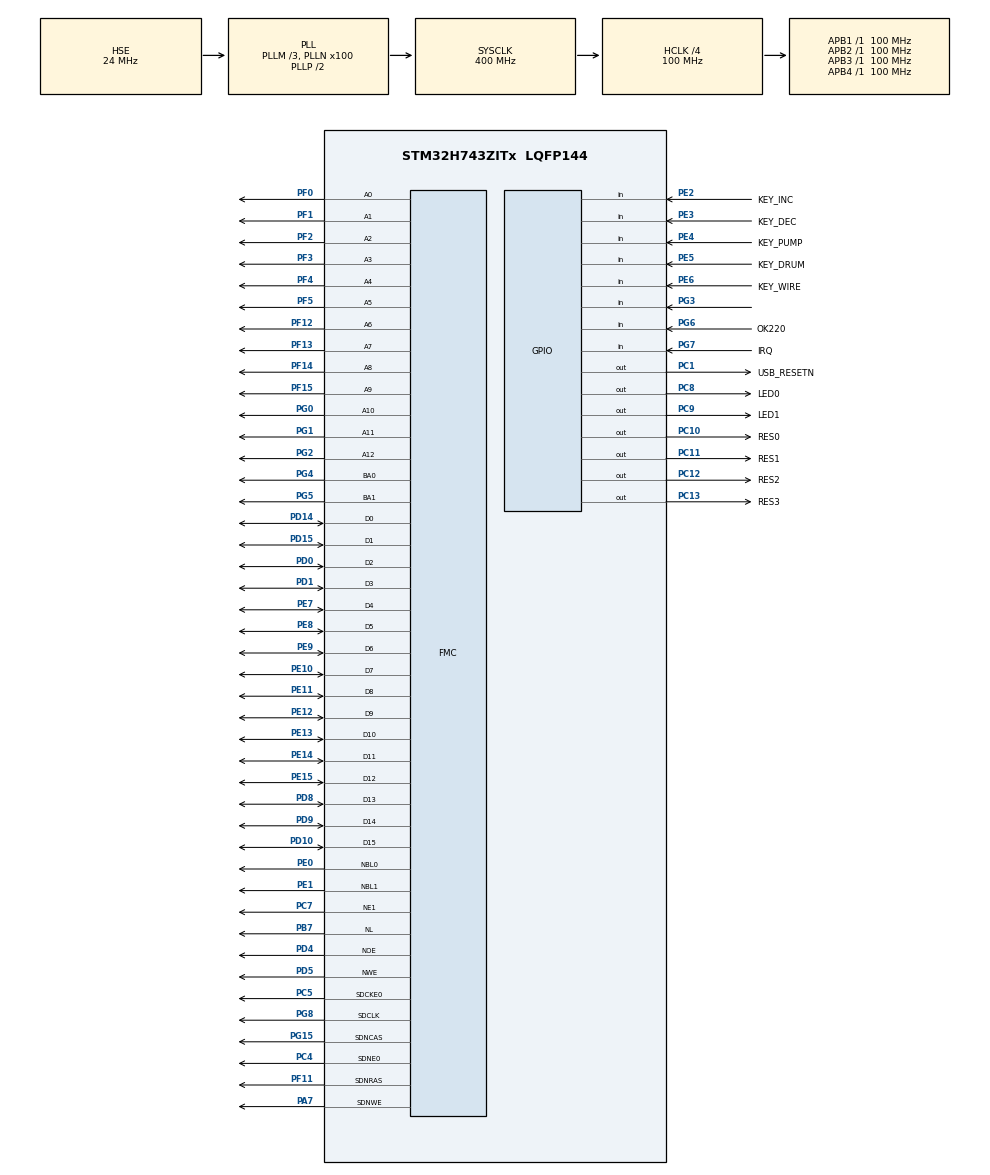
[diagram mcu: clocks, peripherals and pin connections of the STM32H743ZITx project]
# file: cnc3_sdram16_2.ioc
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CORTEX_M7.AccessPermission-Cortex_Memory_Protection_Unit_Region0_Settings=MPU_REGION_FULL_ACCESS
CORTEX_M7.BaseAddress-Cortex_Memory_Protection_Unit_Region0_Settings=0xC0000000
CORTEX_M7.CPU_ICache=Enabled
CORTEX_M7.DisableExec-Cortex_Memory_Protection_Unit_Region0_Settings=MPU_INSTRUCTION_ACCESS_DISABLE
CORTEX_M7.Enable-Cortex_Memory_Protection_Unit_Region0_Settings=MPU_REGION_ENABLE
CORTEX_M7.IsCacheable-Cortex_Memory_Protection_Unit_Region0_Settings=MPU_ACCESS_NOT_CACHEABLE
CORTEX_M7.MPU_Control=__NULL
CORTEX_M7.Size-Cortex_Memory_Protection_Unit_Region0_Settings=MPU_REGION_SIZE_64MB
FMC.AddressHoldTime1=6
FMC.BankMapConfig=FMC_SWAPBMAP_DISABLE
FMC.BusTurnAroundDuration1=6
FMC.CASLatency1=FMC_SDRAM_CAS_LATENCY_2
FMC.ColumnBitsNumber1=FMC_SDRAM_COLUMN_BITS_NUM_10
FMC.DataSetupTime1=15
FMC.ExitSelfRefreshDelay1=6
FMC.LoadToActiveDelay1=2
FMC.RCDDelay1=2
FMC.RPDelay1=2
FMC.ReadBurst1=FMC_SDRAM_RBURST_ENABLE
FMC.RowCycleDelay1=6
FMC.SDClockPeriod1=FMC_SDRAM_CLOCK_PERIOD_3
FMC.SDClockPeriod2=FMC_SDRAM_CLOCK_PERIOD_3
FMC.SelfRefreshTime1=4
FMC.WriteFifo1=FMC_WRITE_FIFO_DISABLE
FMC.WriteFifo2=FMC_WRITE_FIFO_DISABLE
FMC.WriteFifo3=FMC_WRITE_FIFO_DISABLE
FMC.WriteFifo4=FMC_WRITE_FIFO_DISABLE
FMC.WriteOperation1=FMC_WRITE_OPERATION_ENABLE
FMC.WriteRecoveryTime1=2
Mcu.Family=STM32H7
Mcu.Name=STM32H743ZITx
Mcu.Package=LQFP144
NVIC.PriorityGroup=NVIC_PRIORITYGROUP_4
PA1.Signal=USART2_DE
PA11.Signal=USB_OTG_FS_DM
PA12.Signal=USB_OTG_FS_DP
PA13\ (JTMS/SWDIO).Mode=Serial_Wire
PA13\ (JTMS/SWDIO).Signal=DEBUG_JTMS-SWDIO
PA14\ (JTCK/SWCLK).Mode=Serial_Wire
PA14\ (JTCK/SWCLK).Signal=DEBUG_JTCK-SWCLK
PA2.Signal=USART2_TX
PA3.Signal=USB_OTG_HS_ULPI_D0
PA4.Signal=USB_OTG_HS_SOF
PA5.Signal=USB_OTG_HS_ULPI_CK
PA7.Signal=FMC_SDNWE
PA8.Signal=USB_OTG_FS_SOF
PA9.Signal=USB_OTG_FS_VBUS
PB0.Signal=USB_OTG_HS_ULPI_D1
PB1.Signal=USB_OTG_HS_ULPI_D2
PB10.Signal=USB_OTG_HS_ULPI_D3
PB11.Signal=USB_OTG_HS_ULPI_D4
PB12.Signal=USB_OTG_HS_ULPI_D5
PB13.Signal=USB_OTG_HS_ULPI_D6
PB14.Signal=USART1_TX
PB15.Signal=USART1_RX
PB5.Signal=USB_OTG_HS_ULPI_D7
PB7.Signal=FMC_NL
PC0.Signal=USB_OTG_HS_ULPI_STP
PC1.GPIO_Label=USB_RESETN
PC1.Signal=GPIO_Output
PC10.GPIO_Label=RES0
PC10.Signal=GPIO_Output
PC11.GPIO_Label=RES1
PC11.Signal=GPIO_Output
PC12.GPIO_Label=RES2
PC12.Signal=GPIO_Output
PC13.GPIO_Label=RES3
PC13.Signal=GPIO_Output
PC14-OSC32_IN\ (OSC32_IN).Mode=LSE-External-Oscillator
PC14-OSC32_IN\ (OSC32_IN).Signal=RCC_OSC32_IN
PC15-OSC32_OUT\ (OSC32_OUT).Mode=LSE-External-Oscillator
PC15-OSC32_OUT\ (OSC32_OUT).Signal=RCC_OSC32_OUT
PC2_C.Signal=USB_OTG_HS_ULPI_DIR
PC3_C.Signal=USB_OTG_HS_ULPI_NXT
PC4.Mode=SdramChipSelect1_1
PC4.Signal=FMC_SDNE0
PC5.Mode=SdramChipSelect1_1
PC5.Signal=FMC_SDCKE0
PC6.Signal=USART6_TX
PC7.Mode=NorPsramChipSelect1_1
PC7.Signal=FMC_NE1
PC8.GPIO_Label=LED0
PC8.Signal=GPIO_Output
PC9.GPIO_Label=LED1
PC9.Signal=GPIO_Output
PD0.Signal=FMC_D2_DA2
PD1.Signal=FMC_D3_DA3
PD10.Signal=FMC_D15_DA15
PD14.Signal=FMC_D0_DA0
PD15.Signal=FMC_D1_DA1
PD4.Signal=FMC_NOE
PD5.Signal=FMC_NWE
PD6.Signal=USART2_RX
PD8.Signal=FMC_D13_DA13
PD9.Signal=FMC_D14_DA14
PE0.Signal=FMC_NBL0
PE1.Signal=FMC_NBL1
PE10.Signal=FMC_D7_DA7
PE11.Signal=FMC_D8_DA8
PE12.Signal=FMC_D9_DA9
PE13.Signal=FMC_D10_DA10
PE14.Signal=FMC_D11_DA11
PE15.Signal=FMC_D12_DA12
PE2.GPIO_Label=KEY_INC
PE2.Signal=GPIO_Input
PE3.GPIO_Label=KEY_DEC
PE3.Signal=GPIO_Input
PE4.GPIO_Label=KEY_PUMP
PE4.Signal=GPIO_Input
PE5.GPIO_Label=KEY_DRUM
PE5.Signal=GPIO_Input
PE6.GPIO_Label=KEY_WIRE
PE6.Signal=GPIO_Input
PE7.Signal=FMC_D4_DA4
PE8.Signal=FMC_D5_DA5
PE9.Signal=FMC_D6_DA6
PF0.Signal=FMC_A0
PF1.Signal=FMC_A1
PF11.Signal=FMC_SDNRAS
PF12.Signal=FMC_A6
PF13.Signal=FMC_A7
PF14.Signal=FMC_A8
PF15.Signal=FMC_A9
PF2.Signal=FMC_A2
PF3.Signal=FMC_A3
PF4.Signal=FMC_A4
PF5.Signal=FMC_A5
PF7.Signal=ADC3_INP3
PF8.Signal=ADC3_INP7
PF9.Signal=ADC3_INP2
PG0.Signal=FMC_A10
PG1.Signal=FMC_A11
PG12.Signal=USART6_DE
PG15.Signal=FMC_SDNCAS
PG2.Signal=FMC_A12
PG3.Signal=GPIO_Input
PG4.Signal=FMC_A14_BA0
PG5.Signal=FMC_A15_BA1
PG6.GPIO_Label=OK220
PG6.Signal=GPIO_Input
PG7.GPIO_Label=IRQ
PG7.Signal=GPIO_Input
PG8.Signal=FMC_SDCLK
PG9.Signal=USART6_RX
PH0-OSC_IN\ (PH0).Mode=HSE-External-Clock-Source
PH0-OSC_IN\ (PH0).Signal=RCC_OSC_IN
PH1-OSC_OUT\ (PH1).Signal=RCC_OSC_OUT
ProjectManager.HeapSize=0x800
ProjectManager.StackSize=0x400
ProjectManager.TargetToolchain=TrueSTUDIO
RCC.ADCCLockSelection=RCC_ADCCLKSOURCE_PLL3
RCC.ADCFreq_Value=48000000
RCC.APB1Freq_Value=100000000
RCC.APB2Freq_Value=100000000
RCC.APB3Freq_Value=100000000
RCC.APB4Freq_Value=100000000
RCC.CKPERSourceSelection=RCC_CLKPSOURCE_HSE
RCC.CortexFreq_Value=400000000
RCC.DIVM1=3
RCC.DIVM2=3
RCC.DIVM3=2
RCC.DIVN1=100
RCC.DIVN2=100
RCC.DIVN3=64
RCC.DIVP2=8
RCC.DIVQ1=8
RCC.DIVQ2=8
RCC.DIVQ3=16
RCC.DIVR1=8
RCC.DIVR2=8
RCC.DIVR3=16
RCC.HCLKFreq_Value=100000000
RCC.HPRE=RCC_HCLK_DIV4
RCC.HSE_VALUE=24000000
RCC.PLLFRACN=0
RCC.PLLSourceVirtual=RCC_PLLSOURCE_HSE
RCC.SYSCLKFreq_VALUE=400000000
RCC.SYSCLKSource=RCC_SYSCLKSOURCE_PLLCLK
RCC.USBCLockSelection=RCC_USBCLKSOURCE_PLL3
RCC.USBFreq_Value=48000000
SH.FMC_A0.0=FMC_A0,13b-sda1
SH.FMC_A1.0=FMC_A1,13b-sda1
SH.FMC_A10.0=FMC_A10,13b-sda1
SH.FMC_A11.0=FMC_A11,13b-sda1
SH.FMC_A12.0=FMC_A12,13b-sda1
SH.FMC_A14_BA0.0=FMC_BA0,FourSdramBanks1
SH.FMC_A15_BA1.0=FMC_BA1,FourSdramBanks1
SH.FMC_A2.0=FMC_A2,13b-sda1
SH.FMC_A3.0=FMC_A3,13b-sda1
SH.FMC_A4.0=FMC_A4,13b-sda1
SH.FMC_A5.0=FMC_A5,13b-sda1
SH.FMC_A6.0=FMC_A6,13b-sda1
SH.FMC_A7.0=FMC_A7,13b-sda1
SH.FMC_A8.0=FMC_A8,13b-sda1
SH.FMC_A9.0=FMC_A9,13b-sda1
SH.FMC_D0_DA0.0=FMC_D0,sd-16b-d1
SH.FMC_D0_DA0.1=FMC_DA0,16b-da1
SH.FMC_D10_DA10.0=FMC_D10,sd-16b-d1
SH.FMC_D10_DA10.1=FMC_DA10,16b-da1
SH.FMC_D11_DA11.0=FMC_D11,sd-16b-d1
SH.FMC_D11_DA11.1=FMC_DA11,16b-da1
SH.FMC_D12_DA12.0=FMC_D12,sd-16b-d1
SH.FMC_D12_DA12.1=FMC_DA12,16b-da1
SH.FMC_D13_DA13.0=FMC_D13,sd-16b-d1
SH.FMC_D13_DA13.1=FMC_DA13,16b-da1
SH.FMC_D14_DA14.0=FMC_D14,sd-16b-d1
SH.FMC_D14_DA14.1=FMC_DA14,16b-da1
SH.FMC_D15_DA15.0=FMC_D15,sd-16b-d1
SH.FMC_D15_DA15.1=FMC_DA15,16b-da1
SH.FMC_D1_DA1.0=FMC_D1,sd-16b-d1
SH.FMC_D1_DA1.1=FMC_DA1,16b-da1
SH.FMC_D2_DA2.0=FMC_D2,sd-16b-d1
SH.FMC_D2_DA2.1=FMC_DA2,16b-da1
SH.FMC_D3_DA3.0=FMC_D3,sd-16b-d1
SH.FMC_D3_DA3.1=FMC_DA3,16b-da1
SH.FMC_D4_DA4.0=FMC_D4,sd-16b-d1
SH.FMC_D4_DA4.1=FMC_DA4,16b-da1
SH.FMC_D5_DA5.0=FMC_D5,sd-16b-d1
SH.FMC_D5_DA5.1=FMC_DA5,16b-da1
SH.FMC_D6_DA6.0=FMC_D6,sd-16b-d1
SH.FMC_D6_DA6.1=FMC_DA6,16b-da1
SH.FMC_D7_DA7.0=FMC_D7,sd-16b-d1
SH.FMC_D7_DA7.1=FMC_DA7,16b-da1
SH.FMC_D8_DA8.0=FMC_D8,sd-16b-d1
SH.FMC_D8_DA8.1=FMC_DA8,16b-da1
SH.FMC_D9_DA9.0=FMC_D9,sd-16b-d1
SH.FMC_D9_DA9.1=FMC_DA9,16b-da1
SH.FMC_NBL0.0=FMC_NBL0,Sd2ByteEnable1
SH.FMC_NBL0.1=FMC_NBL0,2ByteEnable1
SH.FMC_NBL1.0=FMC_NBL1,Sd2ByteEnable1
SH.FMC_NBL1.1=FMC_NBL1,2ByteEnable1
SH.FMC_NL.0=FMC_NL,AddressValid1
SH.FMC_NOE.0=FMC_NOE,MuxedPsram1
SH.FMC_NWE.0=FMC_NWE,MuxedPsram1
SH.FMC_SDCLK.0=FMC_SDCLK,13b-sda1
SH.FMC_SDNCAS.0=FMC_SDNCAS,13b-sda1
SH.FMC_SDNRAS.0=FMC_SDNRAS,13b-sda1
SH.FMC_SDNWE.0=FMC_SDNWE,13b-sda1
board=custom

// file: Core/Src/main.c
/* USER CODE BEGIN Header */
/**
  ******************************************************************************
  * @file           : main.c
  * @brief          : Main program body
  ******************************************************************************
  * @attention
  *
  * <h2><center>&copy; Copyright (c) 2021 STMicroelectronics.
  * All rights reserved.</center></h2>
  *
  * This software component is licensed by ST under BSD 3-Clause license,
  * the "License"; You may not use this file except in compliance with the
  * License. You may obtain a copy of the License at:
  *                        opensource.org/licenses/BSD-3-Clause
  *
  ******************************************************************************
  */
/* USER CODE END Header */
#include "main.h"
#include "gpio.h"
#include "fmc.h"

/* USER CODE BEGIN Includes */
#include "IS42S16320F.h"
#include "led_task.h"
/* USER CODE END Includes */

/* USER CODE BEGIN PV */
#define BUFFER_SIZE ((uint32_t)0x100)
#define RW_ADDR ((uint32_t)0)
uint16_t sd_rx_buf[BUFFER_SIZE];
uint16_t sd_tx_buf[BUFFER_SIZE];
/* USER CODE END PV */

void SystemClock_Config(void);

/* USER CODE BEGIN 0 */
static void fillBufferLine16(uint16_t* pBuffer, uint32_t length, uint16_t start_value) {
	for (uint32_t i = 0; i < length; i++)
		pBuffer[i] = start_value + i;
}
static void setBuffer16(uint16_t* pBuffer, uint32_t length, uint16_t value) {
	for (uint32_t i = 0; i < length; i++)
		pBuffer[i] = value;
}
static void fillBufferOnes16(uint16_t* pBuffer, uint32_t length) {
	for (uint32_t i = 0; i < length; i++)
	  pBuffer[i] = 1U<<(i & 0xF);
}
/* USER CODE END 0 */

int main(void)
{
  /* USER CODE BEGIN 1 */
	for (volatile int i = 0; i < 1e6; i++);

  /* USER CODE END 1 */

  /* Enable I-Cache---------------------------------------------------------*/
  SCB_EnableICache();

  /* MCU Configuration--------------------------------------------------------*/

  /* Reset of all peripherals, Initializes the Flash interface and the Systick. */
  HAL_Init();

  /* Configure the system clock */
  SystemClock_Config();

  /* Initialize all configured peripherals */
  MX_GPIO_Init();
  MX_FMC_Init();
  /* USER CODE BEGIN 2 */
  IS42S16320F_init(&hsdram1);
//  fillBufferOnes16(sd_tx_buf, BUFFER_SIZE);
  setBuffer16(sd_rx_buf, BUFFER_SIZE, 0);

  for (int i = 0; i < BUFFER_SIZE; i++) {
	  *(__IO uint16_t*)(SDRAM_BANK_ADDR + RW_ADDR + (i<<1)) = (uint16_t)(((0xff - (i & 0xff))<<8) | (i & 0xff));
  }

  for (int i = 0; i < BUFFER_SIZE; i++) {
	  sd_rx_buf[i] = *(__IO uint16_t*)(SDRAM_BANK_ADDR + RW_ADDR + (i<<1));
  }
  /* USER CODE END 2 */

  /* Infinite loop */
  /* USER CODE BEGIN WHILE */
  while (1)
  {
	  static uint16_t data = 0;
	  for (int i = 0; i < BUFFER_SIZE; i++) {
		  *(__IO uint16_t*)(SDRAM_BANK_ADDR + RW_ADDR + (i<<1)) = data;
		  data = ~data;
	  }

	  led_task();

    /* USER CODE END WHILE */

  }
}

void SystemClock_Config(void)
{
  RCC_OscInitTypeDef RCC_OscInitStruct = {0};
  RCC_ClkInitTypeDef RCC_ClkInitStruct = {0};

  /** Supply configuration update enable
  */
  HAL_PWREx_ConfigSupply(PWR_LDO_SUPPLY);
  /** Configure the main internal regulator output voltage
  */
  __HAL_PWR_VOLTAGESCALING_CONFIG(PWR_REGULATOR_VOLTAGE_SCALE1);

  while(!__HAL_PWR_GET_FLAG(PWR_FLAG_VOSRDY)) {}
  /** Initializes the RCC Oscillators according to the specified parameters
  * in the RCC_OscInitTypeDef structure.
  */
  RCC_OscInitStruct.OscillatorType = RCC_OSCILLATORTYPE_HSE;
  RCC_OscInitStruct.HSEState = RCC_HSE_BYPASS;
  RCC_OscInitStruct.PLL.PLLState = RCC_PLL_ON;
  RCC_OscInitStruct.PLL.PLLSource = RCC_PLLSOURCE_HSE;
  RCC_OscInitStruct.PLL.PLLM = 3;
  RCC_OscInitStruct.PLL.PLLN = 100;
  RCC_OscInitStruct.PLL.PLLP = 2;
  RCC_OscInitStruct.PLL.PLLQ = 8;
  RCC_OscInitStruct.PLL.PLLR = 8;
  RCC_OscInitStruct.PLL.PLLRGE = RCC_PLL1VCIRANGE_3;
  RCC_OscInitStruct.PLL.PLLVCOSEL = RCC_PLL1VCOWIDE;
  RCC_OscInitStruct.PLL.PLLFRACN = 0;
  if (HAL_RCC_OscConfig(&RCC_OscInitStruct) != HAL_OK)
  {
    Error_Handler();
  }
  /** Initializes the CPU, AHB and APB buses clocks
  */
  RCC_ClkInitStruct.ClockType = RCC_CLOCKTYPE_HCLK|RCC_CLOCKTYPE_SYSCLK
                              |RCC_CLOCKTYPE_PCLK1|RCC_CLOCKTYPE_PCLK2
                              |RCC_CLOCKTYPE_D3PCLK1|RCC_CLOCKTYPE_D1PCLK1;
  RCC_ClkInitStruct.SYSCLKSource = RCC_SYSCLKSOURCE_PLLCLK;
  RCC_ClkInitStruct.SYSCLKDivider = RCC_SYSCLK_DIV1;
  RCC_ClkInitStruct.AHBCLKDivider = RCC_HCLK_DIV4;
  RCC_ClkInitStruct.APB3CLKDivider = RCC_APB3_DIV1;
  RCC_ClkInitStruct.APB1CLKDivider = RCC_APB1_DIV1;
  RCC_ClkInitStruct.APB2CLKDivider = RCC_APB2_DIV1;
  RCC_ClkInitStruct.APB4CLKDivider = RCC_APB4_DIV1;

  if (HAL_RCC_ClockConfig(&RCC_ClkInitStruct, FLASH_LATENCY_1) != HAL_OK)
  {
    Error_Handler();
  }
}

void Error_Handler(void)
{
  __disable_irq();
  while (1)
  {
  }
}

/************************ (C) COPYRIGHT STMicroelectronics *****END OF FILE****/
